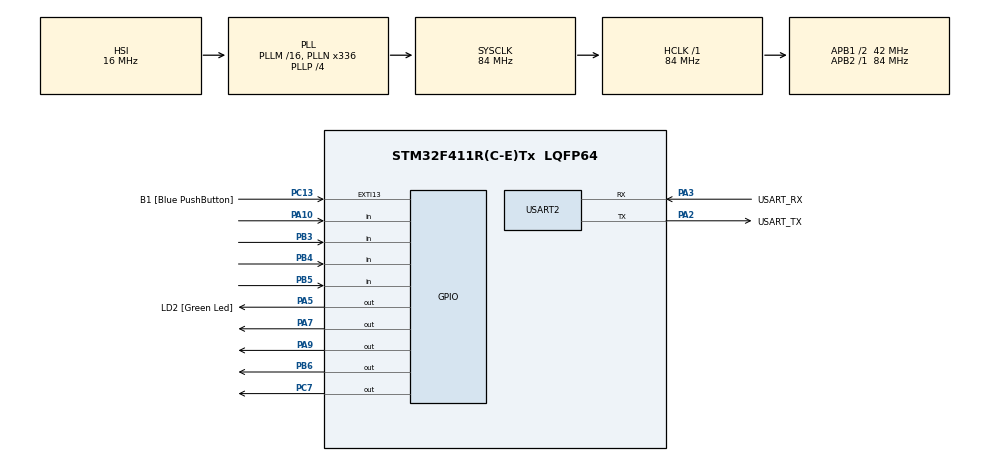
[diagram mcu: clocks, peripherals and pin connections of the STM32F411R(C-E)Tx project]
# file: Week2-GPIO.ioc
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Mcu.Family=STM32F4
Mcu.Name=STM32F411R(C-E)Tx
Mcu.Package=LQFP64
NVIC.PriorityGroup=NVIC_PRIORITYGROUP_0
PA10.GPIO_PuPd=GPIO_PULLUP
PA10.Signal=GPIO_Input
PA13.GPIO_Label=TMS
PA13.Mode=Serial_Wire
PA13.Signal=SYS_JTMS-SWDIO
PA14.GPIO_Label=TCK
PA14.Mode=Serial_Wire
PA14.Signal=SYS_JTCK-SWCLK
PA2.GPIO_Label=USART_TX
PA2.Mode=Asynchronous
PA2.Signal=USART2_TX
PA3.GPIO_Label=USART_RX
PA3.Mode=Asynchronous
PA3.Signal=USART2_RX
PA5.GPIO_Label=LD2 [Green Led]
PA5.Signal=GPIO_Output
PA7.GPIO_ModeDefaultOutputPP=GPIO_MODE_OUTPUT_OD
PA7.PinState=GPIO_PIN_SET
PA7.Signal=GPIO_Output
PA9.GPIO_ModeDefaultOutputPP=GPIO_MODE_OUTPUT_OD
PA9.PinState=GPIO_PIN_SET
PA9.Signal=GPIO_Output
PB3.GPIO_PuPd=GPIO_PULLUP
PB3.Signal=GPIO_Input
PB4.GPIO_PuPd=GPIO_PULLUP
PB4.Signal=GPIO_Input
PB5.GPIO_PuPd=GPIO_PULLUP
PB5.Signal=GPIO_Input
PB6.GPIO_ModeDefaultOutputPP=GPIO_MODE_OUTPUT_OD
PB6.PinState=GPIO_PIN_SET
PB6.Signal=GPIO_Output
PC13-ANTI_TAMP.GPIO_Label=B1 [Blue PushButton]
PC13-ANTI_TAMP.GPIO_ModeDefaultEXTI=GPIO_MODE_IT_FALLING
PC13-ANTI_TAMP.Signal=GPXTI13
PC14-OSC32_IN.Mode=LSE-External-Oscillator
PC14-OSC32_IN.Signal=RCC_OSC32_IN
PC15-OSC32_OUT.Mode=LSE-External-Oscillator
PC15-OSC32_OUT.Signal=RCC_OSC32_OUT
PC7.GPIO_ModeDefaultOutputPP=GPIO_MODE_OUTPUT_OD
PC7.PinState=GPIO_PIN_SET
PC7.Signal=GPIO_Output
PH0\ -\ OSC_IN.Mode=HSE-External-Clock-Source
PH0\ -\ OSC_IN.Signal=RCC_OSC_IN
PH1\ -\ OSC_OUT.Mode=HSE-External-Clock-Source
PH1\ -\ OSC_OUT.Signal=RCC_OSC_OUT
ProjectManager.HeapSize=0x200
ProjectManager.StackSize=0x400
ProjectManager.TargetToolchain=STM32CubeIDE
RCC.48MHZClocksFreq_Value=84000000
RCC.AHBFreq_Value=84000000
RCC.APB1CLKDivider=RCC_HCLK_DIV2
RCC.APB1Freq_Value=42000000
RCC.APB1TimFreq_Value=84000000
RCC.APB2Freq_Value=84000000
RCC.APB2TimFreq_Value=84000000
RCC.CortexFreq_Value=84000000
RCC.FLatency-AdvancedSettings=FLASH_LATENCY_2
RCC.HCLKFreq_Value=84000000
RCC.HSE_VALUE=8000000
RCC.HSI_VALUE=16000000
RCC.PLLN=336
RCC.PLLP=RCC_PLLP_DIV4
RCC.SYSCLKFreq_VALUE=84000000
RCC.SYSCLKSource=RCC_SYSCLKSOURCE_PLLCLK
RCC.VCOOutputFreq_Value=336000000
USART2.VirtualMode=VM_ASYNC
board=NUCLEO-F411RE

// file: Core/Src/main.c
/* USER CODE BEGIN Header */
/**
  ******************************************************************************
  * @file           : main.c
  * @brief          : Main program body
  ******************************************************************************
  * @attention
  *
  * <h2><center>&copy; Copyright (c) 2021 STMicroelectronics.
  * All rights reserved.</center></h2>
  *
  * This software component is licensed by ST under BSD 3-Clause license,
  * the "License"; You may not use this file except in compliance with the
  * License. You may obtain a copy of the License at:
  *                        opensource.org/licenses/BSD-3-Clause
  *
  ******************************************************************************
  */
/* USER CODE END Header */
#include "main.h"

UART_HandleTypeDef huart2;

/* USER CODE BEGIN PV */

// save status of button Matrix
uint16_t ButtonMatrixState = 0;

// button_timestamp
uint32_t ButtonTimeStamp = 0;
uint32_t code_state = 0;
uint8_t ACCESS = 1;

/* USER CODE END PV */

void SystemClock_Config(void);
static void MX_GPIO_Init(void);
static void MX_USART2_UART_Init(void);

/* USER CODE BEGIN PFP */

//for update
void ButtonMatrixUpdate();

/* USER CODE END PFP */

int main(void)
{

  /* MCU Configuration--------------------------------------------------------*/

  /* Reset of all peripherals, Initializes the Flash interface and the Systick. */
  HAL_Init();

  /* Configure the system clock */
  SystemClock_Config();

  /* Initialize all configured peripherals */
  MX_GPIO_Init();
  MX_USART2_UART_Init();
  /* USER CODE BEGIN 2 */
  enum _INPUT_State
  {
	INPUT_State_0 = 0,
	INPUT_State_1,
	INPUT_State_2,
	INPUT_State_3,
	INPUT_State_4,
	INPUT_State_5,
	INPUT_State_6,
	INPUT_State_7,
	INPUT_State_8,
	INPUT_State_9,
	INPUT_State_10,
	INPUT_State_11,
	INPUT_State_Corect,
	INPUT_State_Error,
  };

  enum _INPUT_Number
  {
	  INPUT_Number_1 = 0b100000000,
	  INPUT_Number_2 = 0b1000000000,
	  INPUT_Number_3 = 0b10000000000,
	  INPUT_Number_4 = 0b10000,
	  INPUT_Number_5 = 0b100000,
	  INPUT_Number_6 = 0b1000000,
	  INPUT_Number_7 = 0b1,
	  INPUT_Number_8 = 0b10,
	  INPUT_Number_9 = 0b100,
	  INPUT_Number_0 = 0b1000000000000,
	  INPUT_Number_Clear = 0b1000,
	  INPUT_Number_OK = 0b1000000000000000,
	  INPUT_Number_No_response = 0b0
  };

  uint16_t data_array[4];

  HAL_GPIO_WritePin(GPIOA, GPIO_PIN_5, 0);

  /* USER CODE END 2 */

  /* Infinite loop */
  while (1)
  {

    /* USER CODE BEGIN 3 */
	  ButtonMatrixUpdate();

	  data_array[3] = data_array[2];
	  data_array[2] = data_array[1];
	  data_array[1] = data_array[0];
	  data_array[0] = ButtonMatrixState;

	  if ((data_array[3] == data_array[2]) && (data_array[2] == data_array[1])
	  		&& (data_array[1] == data_array[0]) && (data_array[0] == 0b0)&& (ACCESS == 0))
	  {
		  ACCESS = 1;
	  }

	  if ((data_array[3] == data_array[2]) && (data_array[2] == data_array[1])
			  && (data_array[1] == data_array[0]) && (data_array[0] != 0b0) && (ACCESS == 1))
	  {
		  ACCESS = 0;
			  switch (code_state)
		  {
			  case INPUT_State_0:
			  {
				  if (ButtonMatrixState == INPUT_Number_6)
				  {
					code_state = INPUT_State_1;
				  }
				  else if (ButtonMatrixState == INPUT_Number_No_response)
				  {
					break;
				  }
				  else
				  {
					code_state = INPUT_State_Error;
				  }
			  }
			  break;

			  case INPUT_State_1:
			  {
				  if (ButtonMatrixState == INPUT_Number_2)
				  {
					code_state = INPUT_State_2;
				  }
				  else if (ButtonMatrixState == INPUT_Number_No_response)
				  {
					break;
				  }
				  else
				  {
					code_state = INPUT_State_Error;
				  }
			  }
			  break;

			  case INPUT_State_2:
			  {
				  if (ButtonMatrixState == INPUT_Number_3)
				  {
					code_state = INPUT_State_3;
				  }
				  else if (ButtonMatrixState == INPUT_Number_No_response)
				  {
					break;
				  }
				  else
				  {
					code_state = INPUT_State_Error;
				  }
			  }
			  break;

			  case INPUT_State_3:
			  {
				  if (ButtonMatrixState == INPUT_Number_4)
				  {
					code_state = INPUT_State_4;
				  }
				  else if (ButtonMatrixState == INPUT_Number_No_response)
				  {
					break;
				  }
				  else
				  {
					code_state = INPUT_State_Error;
				  }
			  }
			  break;

			  case INPUT_State_4:
			  {
				  if (ButtonMatrixState == INPUT_Number_0)
				  {
					code_state = INPUT_State_5;
				  }
				  else if (ButtonMatrixState == INPUT_Number_No_response)
				  {
					break;
				  }
				  else
				  {
					code_state = INPUT_State_Error;
				  }
			  }
			  break;

			  case INPUT_State_5:
				  {
					  if (ButtonMatrixState == INPUT_Number_5)
					  {
						code_state = INPUT_State_6;
					  }
					  else if (ButtonMatrixState == INPUT_Number_No_response)
					  {
						break;
					  }
					  else
					  {
						code_state = INPUT_State_Error;
					  }
				  }
				  break;

			  case INPUT_State_6:
				  {
					  if (ButtonMatrixState == INPUT_Number_0)
					  {
						code_state = INPUT_State_7;
					  }
					  else if (ButtonMatrixState == INPUT_Number_No_response)
					  {
						break;
					  }
					  else
					  {
						code_state = INPUT_State_Error;
					  }
				  }
			  break;

			  case INPUT_State_7:
				  {
					  if (ButtonMatrixState == INPUT_Number_0)
					  {
						code_state = INPUT_State_8;
					  }
					  else if (ButtonMatrixState == INPUT_Number_No_response)
					  {
						break;
					  }
					  else
					  {
						code_state = INPUT_State_Error;
					  }
				  }
				  break;

				  case INPUT_State_8:
				  {
					  if (ButtonMatrixState == INPUT_Number_0)
					  {
						code_state = INPUT_State_9;
					  }
					  else if (ButtonMatrixState == INPUT_Number_No_response)
					  {
						break;
					  }
					  else
					  {
						code_state = INPUT_State_Error;
					  }
				  }
				  break;

			  case INPUT_State_9:
			  {
				  if (ButtonMatrixState == INPUT_Number_1)
				  {
					code_state = INPUT_State_10;
				  }
				  else if (ButtonMatrixState == INPUT_Number_No_response)
				  {
					break;
				  }
				  else
				  {
					code_state = INPUT_State_Error;
				  }
			  }
			  break;

			  case INPUT_State_10:
			  {
				  if (ButtonMatrixState == INPUT_Number_7)
				  {
					code_state = INPUT_State_11;
				  }
				  else if (ButtonMatrixState == INPUT_Number_No_response)
				  {
					break;
				  }
				  else
				  {
					code_state = INPUT_State_Error;
				  }
			  }
			  break;

			  case INPUT_State_11:
			  {
				  if (ButtonMatrixState == INPUT_Number_OK)
				  {
					code_state = INPUT_State_Corect;
				  }
				  else if (ButtonMatrixState == INPUT_Number_No_response)
				  {
					break;
				  }
				  else
				  {
					code_state = INPUT_State_Error;
				  }
			  }
			  break;

			  case INPUT_State_Corect:
			  {
				  break;
			  }
			  break;

			  case INPUT_State_Error:
			  {
				  break;
			  }
			  break;

			  }

		  if (ButtonMatrixState == INPUT_Number_Clear)
		  {
			  HAL_GPIO_WritePin(GPIOA, GPIO_PIN_5, 0);
			  code_state = INPUT_State_0;
		  }
		  if (code_state == INPUT_State_Corect)
		  {
			  HAL_GPIO_WritePin(GPIOA, GPIO_PIN_5, 1);
		  }

	  }

  }
  /* USER CODE END 3 */
}

void SystemClock_Config(void)
{
  RCC_OscInitTypeDef RCC_OscInitStruct = {0};
  RCC_ClkInitTypeDef RCC_ClkInitStruct = {0};

  /** Configure the main internal regulator output voltage
  */
  __HAL_RCC_PWR_CLK_ENABLE();
  __HAL_PWR_VOLTAGESCALING_CONFIG(PWR_REGULATOR_VOLTAGE_SCALE1);
  /** Initializes the RCC Oscillators according to the specified parameters
  * in the RCC_OscInitTypeDef structure.
  */
  RCC_OscInitStruct.OscillatorType = RCC_OSCILLATORTYPE_HSI;
  RCC_OscInitStruct.HSIState = RCC_HSI_ON;
  RCC_OscInitStruct.HSICalibrationValue = RCC_HSICALIBRATION_DEFAULT;
  RCC_OscInitStruct.PLL.PLLState = RCC_PLL_ON;
  RCC_OscInitStruct.PLL.PLLSource = RCC_PLLSOURCE_HSI;
  RCC_OscInitStruct.PLL.PLLM = 16;
  RCC_OscInitStruct.PLL.PLLN = 336;
  RCC_OscInitStruct.PLL.PLLP = RCC_PLLP_DIV4;
  RCC_OscInitStruct.PLL.PLLQ = 4;
  if (HAL_RCC_OscConfig(&RCC_OscInitStruct) != HAL_OK)
  {
    Error_Handler();
  }
  /** Initializes the CPU, AHB and APB buses clocks
  */
  RCC_ClkInitStruct.ClockType = RCC_CLOCKTYPE_HCLK|RCC_CLOCKTYPE_SYSCLK
                              |RCC_CLOCKTYPE_PCLK1|RCC_CLOCKTYPE_PCLK2;
  RCC_ClkInitStruct.SYSCLKSource = RCC_SYSCLKSOURCE_PLLCLK;
  RCC_ClkInitStruct.AHBCLKDivider = RCC_SYSCLK_DIV1;
  RCC_ClkInitStruct.APB1CLKDivider = RCC_HCLK_DIV2;
  RCC_ClkInitStruct.APB2CLKDivider = RCC_HCLK_DIV1;

  if (HAL_RCC_ClockConfig(&RCC_ClkInitStruct, FLASH_LATENCY_2) != HAL_OK)
  {
    Error_Handler();
  }
}

static void MX_USART2_UART_Init(void)
{

  huart2.Instance = USART2;
  huart2.Init.BaudRate = 115200;
  huart2.Init.WordLength = UART_WORDLENGTH_8B;
  huart2.Init.StopBits = UART_STOPBITS_1;
  huart2.Init.Parity = UART_PARITY_NONE;
  huart2.Init.Mode = UART_MODE_TX_RX;
  huart2.Init.HwFlowCtl = UART_HWCONTROL_NONE;
  huart2.Init.OverSampling = UART_OVERSAMPLING_16;
  if (HAL_UART_Init(&huart2) != HAL_OK)
  {
    Error_Handler();
  }

}

static void MX_GPIO_Init(void)
{
  GPIO_InitTypeDef GPIO_InitStruct = {0};

  /* GPIO Ports Clock Enable */
  __HAL_RCC_GPIOC_CLK_ENABLE();
  __HAL_RCC_GPIOH_CLK_ENABLE();
  __HAL_RCC_GPIOA_CLK_ENABLE();
  __HAL_RCC_GPIOB_CLK_ENABLE();

  /*Configure GPIO pin Output Level */
  HAL_GPIO_WritePin(LD2_GPIO_Port, LD2_Pin, GPIO_PIN_RESET);

  /*Configure GPIO pin Output Level */
  HAL_GPIO_WritePin(GPIOA, GPIO_PIN_7|GPIO_PIN_9, GPIO_PIN_SET);

  /*Configure GPIO pin Output Level */
  HAL_GPIO_WritePin(GPIOC, GPIO_PIN_7, GPIO_PIN_SET);

  /*Configure GPIO pin Output Level */
  HAL_GPIO_WritePin(GPIOB, GPIO_PIN_6, GPIO_PIN_SET);

  /*Configure GPIO pin : B1_Pin */
  GPIO_InitStruct.Pin = B1_Pin;
  GPIO_InitStruct.Mode = GPIO_MODE_IT_FALLING;
  GPIO_InitStruct.Pull = GPIO_NOPULL;
  HAL_GPIO_Init(B1_GPIO_Port, &GPIO_InitStruct);

  /*Configure GPIO pin : LD2_Pin */
  GPIO_InitStruct.Pin = LD2_Pin;
  GPIO_InitStruct.Mode = GPIO_MODE_OUTPUT_PP;
  GPIO_InitStruct.Pull = GPIO_NOPULL;
  GPIO_InitStruct.Speed = GPIO_SPEED_FREQ_LOW;
  HAL_GPIO_Init(LD2_GPIO_Port, &GPIO_InitStruct);

  /*Configure GPIO pins : PA7 PA9 */
  GPIO_InitStruct.Pin = GPIO_PIN_7|GPIO_PIN_9;
  GPIO_InitStruct.Mode = GPIO_MODE_OUTPUT_OD;
  GPIO_InitStruct.Pull = GPIO_NOPULL;
  GPIO_InitStruct.Speed = GPIO_SPEED_FREQ_LOW;
  HAL_GPIO_Init(GPIOA, &GPIO_InitStruct);

  /*Configure GPIO pin : PC7 */
  GPIO_InitStruct.Pin = GPIO_PIN_7;
  GPIO_InitStruct.Mode = GPIO_MODE_OUTPUT_OD;
  GPIO_InitStruct.Pull = GPIO_NOPULL;
  GPIO_InitStruct.Speed = GPIO_SPEED_FREQ_LOW;
  HAL_GPIO_Init(GPIOC, &GPIO_InitStruct);

  /*Configure GPIO pin : PA10 */
  GPIO_InitStruct.Pin = GPIO_PIN_10;
  GPIO_InitStruct.Mode = GPIO_MODE_INPUT;
  GPIO_InitStruct.Pull = GPIO_PULLUP;
  HAL_GPIO_Init(GPIOA, &GPIO_InitStruct);

  /*Configure GPIO pins : PB3 PB4 PB5 */
  GPIO_InitStruct.Pin = GPIO_PIN_3|GPIO_PIN_4|GPIO_PIN_5;
  GPIO_InitStruct.Mode = GPIO_MODE_INPUT;
  GPIO_InitStruct.Pull = GPIO_PULLUP;
  HAL_GPIO_Init(GPIOB, &GPIO_InitStruct);

  /*Configure GPIO pin : PB6 */
  GPIO_InitStruct.Pin = GPIO_PIN_6;
  GPIO_InitStruct.Mode = GPIO_MODE_OUTPUT_OD;
  GPIO_InitStruct.Pull = GPIO_NOPULL;
  GPIO_InitStruct.Speed = GPIO_SPEED_FREQ_LOW;
  HAL_GPIO_Init(GPIOB, &GPIO_InitStruct);

}

/* USER CODE BEGIN 4 */

GPIO_TypeDef* ButtonMatrixPort[8] = {GPIOA,GPIOB,GPIOB,GPIOB,
										GPIOA,GPIOC,GPIOB,GPIOA};
uint16_t ButtonMatrixPin[8] = {GPIO_PIN_10,GPIO_PIN_3,GPIO_PIN_5,GPIO_PIN_4,
								GPIO_PIN_9,GPIO_PIN_7,GPIO_PIN_6,GPIO_PIN_7};
uint8_t ButtonMatrixRow = 0;

void ButtonMatrixUpdate()
{
	if(HAL_GetTick() - ButtonTimeStamp >= 20)
	{
		ButtonTimeStamp = HAL_GetTick();
		int i;
		for(i = 0;i<4;i++)
		{
			GPIO_PinState PinState = HAL_GPIO_ReadPin(ButtonMatrixPort[i], ButtonMatrixPin[i]);
			if(PinState == GPIO_PIN_RESET) // Button Press   /// Save bit
			{
				ButtonMatrixState |= (uint16_t)0x1 << (i + ButtonMatrixRow * 4);        ///// 0b00010000 | 0b???0???? = 0b???1????
			}
			else
			{
				ButtonMatrixState &= ~((uint16_t)0x1 << (i + ButtonMatrixRow * 4));     ///// 0b11110111 & 0b???????? = 0b????0???
			}
		}
		///Setting for this loop to 1
		uint8_t NowOutputPin = ButtonMatrixRow + 4 ;
		HAL_GPIO_WritePin(ButtonMatrixPort[NowOutputPin], ButtonMatrixPin[NowOutputPin], GPIO_PIN_SET);

		///Setting for next loop to 0
		ButtonMatrixRow = (ButtonMatrixRow+1)%4 ;
		uint8_t NextOutputPin = ButtonMatrixRow + 4 ;
		HAL_GPIO_WritePin(ButtonMatrixPort[NextOutputPin], ButtonMatrixPin[NextOutputPin], GPIO_PIN_RESET);
	}

}

/* USER CODE END 4 */

void Error_Handler(void)
{
  __disable_irq();
  while (1)
  {
  }
}

/************************ (C) COPYRIGHT STMicroelectronics *****END OF FILE****/
